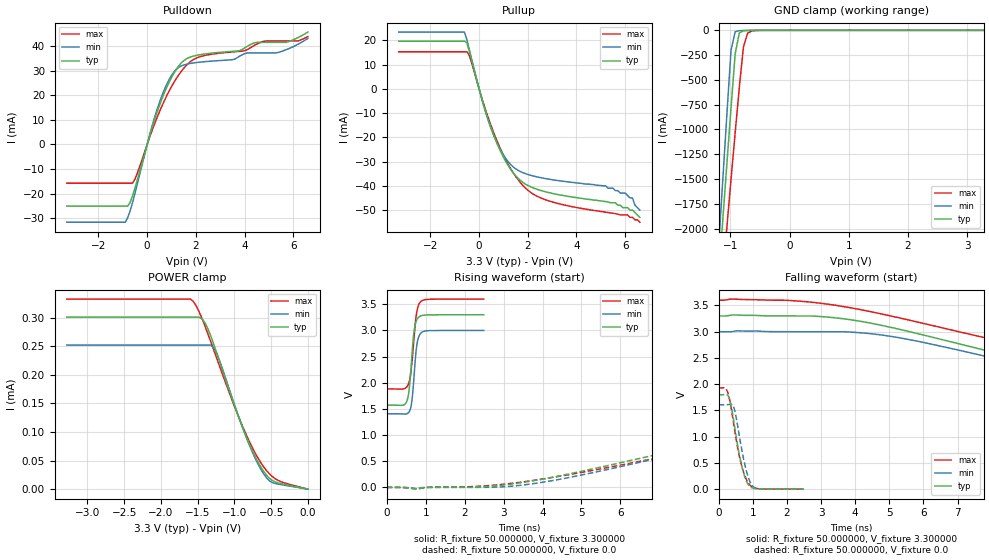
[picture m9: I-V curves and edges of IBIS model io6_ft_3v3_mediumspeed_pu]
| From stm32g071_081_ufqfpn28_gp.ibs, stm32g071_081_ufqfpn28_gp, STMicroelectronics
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|   Model io6_ft_3v3_mediumspeed_pu
[Model]  io6_ft_3v3_mediumspeed_pu
Model_type I/O
Polarity   Non-Inverting
Enable   Active-Low
Vinl =   0.990000V
Vinh =   2.310000V
Vmeas =  1.650000V
Cref =   40.000000pF
Rref =   100.000000M
Vref =   0.0V
C_comp   1.290400pF   1.272500pF   1.305600pF
[Temperature Range]   25.000000   -40.000000   0.125000k
[Pullup Reference]   3.300000V   3.000000V   3.600000V
[Pulldown Reference]   0.0V   0.0V   0.0V
[POWER Clamp Reference]   3.300000V   3.000000V   3.600000V
[GND Clamp Reference]   0.0V   0.0V   0.0V
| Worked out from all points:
|   slope of the pulldown table from 0 to 0.495 V, typ, clamps not added: 31.8 ohm
|   slope of the pullup table from 0 to 0.495 V, typ, clamps not added: 30.4 ohm
|   GND clamp passes 1 mA (typ) near -0.65 V on its own axis
|   rising waveform, R_fixture 50.000000, V_fixture 3.300000: 20-80 % time 114ps typ, 109ps min, 129ps max; typ from 1.57 V to 3.3 V
|   rising waveform, R_fixture 50.000000, V_fixture 0.0: 20-80 % time 8.24ns typ, 7.46ns min, 10.1ns max; typ from 0.002 V to 1.8 V
|   falling waveform, R_fixture 50.000000, V_fixture 3.300000: 20-80 % time 7.53ns typ, 7.46ns min, 8.06ns max; typ from 3.3 V to 1.57 V
|   falling waveform, R_fixture 50.000000, V_fixture 0.0: 20-80 % time 300ps typ, 289ps min, 332ps max; typ from 1.8 V to 0.002 V
[Pulldown]
|Voltage   I(typ)   I(min)   I(max)
-3.3V     -25.03mA   -31.54mA   -15.7mA
-900mV    -25.03mA   -31.54mA   -15.7mA
-700mV    -23.48mA   -26.95mA   -15.7mA
-500mV    -17.69mA   -19.75mA   -14.07mA
100mV     3.479mA    3.853mA    2.862mA
500mV     15.71mA    16.96mA    13.17mA
900mV     25.22mA    26.33mA    21.66mA
1.3V      31.91mA    31.32mA    28.29mA
2.2V      36.48mA    33.43mA    35.69mA
4.1V      39.76mA    37.15mA    38.42mA
5.3V      41.43mA    37.15mA    42.02mA
6.6V      45.6mA     43.04mA    43.74mA
[Pullup]
|Voltage   I(typ)   I(min)   I(max)
-3.3V     19.63mA    23.38mA    15.25mA
-600mV    19.63mA    23.38mA    15.25mA
-500mV    18.97mA    20.19mA    15.25mA
-400mV    15.37mA    16.06mA    13.73mA
100mV     -3.672mA   -3.825mA   -3.371mA
600mV     -19.12mA   -19.15mA   -18.08mA
1.2V      -31.74mA   -30.12mA   -31.25mA
1.8V      -38.62mA   -34.59mA   -39.86mA
2.9V      -42.88mA   -37.32mA   -46.32mA
5.2V      -46.5mA    -40mA      -50.9mA
6.3V      -50mA      -45mA      -53mA
6.6V      -53mA      -50mA      -55mA
[GND_clamp]
|Voltage   I(typ)   I(min)   I(max)
-3.3V     -9.61A     -9.635A    -9.699A
-1.2V     -2.493A    -2.184A    -2.958A
-1.13V    -1.917A    -1.512A    -2.469A
-1.06V    -1.345A    -845.6mA   -1.983A
-990mV    -779.8mA   -200.2mA   -1.503A
-920mV    -235.5mA   -14.18mA   -1.03A
-850mV    -26.06mA   -3.338mA   -574.2mA
-780mV    -4.499mA   -1.808mA   -166.4mA
-710mV    -1.722mA   -869.6uA   -29.45mA
-640mV    -806.7uA   -283.7uA   -6.281mA
3.28V     0A         0A         0A
[POWER_clamp]
|Voltage   I(typ)   I(min)   I(max)
-3.28V    300.8uA    252uA      332.4uA
-1.6V     300.8uA    252uA      332.4uA
-1.56V    300.8uA    252uA      328.4uA
-1.44V    297.9uA    252uA      298.3uA
-1.36V    280.4uA    252uA      271.4uA
-1.28V    252.9uA    246.9uA    243.1uA
-1.2V     222.5uA    224.3uA    214.5uA
-920mV    118.6uA    118.8uA    119.5uA
-680mV    47.6uA     44.33uA    54.63uA
-560mV    24.08uA    19.48uA    32.08uA
-480mV    14.89uA    11.29uA    21.67uA
0V        0A         0A         0A
[Ramp]
| variable   typ   min   max
dV/dt_r  1.07594/8.22573n   0.96372/7.45021n   1.14743/10.09054n
dV/dt_f  1.03164/7.51032n   0.95298/7.43871n   1.02438/8.04152n
R_load = 50.000000
[Rising Waveform]
R_fixture= 50.000000
V_fixture= 3.300000
V_fixture_min= 3.000000
V_fixture_max= 3.600000
|time   V(typ)   V(min)   V(max)
0s        1.573V     1.408V     1.883V
435.4ps   1.577V     1.404V     1.884V
510.5ps   1.637V     1.406V     1.916V
560.6ps   1.781V     1.431V     1.98V
635.6ps   2.39V      1.598V     2.299V
700.7ps   2.971V     2.107V     2.852V
760.8ps   3.184V     2.648V     3.297V
820.8ps   3.255V     2.876V     3.489V
1.026ns   3.296V     2.993V     3.592V
2.492ns   3.3V       3V         3.6V
[Rising Waveform]
R_fixture= 50.000000
V_fixture= 0.0
V_fixture_min= 0.0
V_fixture_max= 0.0
|time   V(typ)   V(min)   V(max)
0s        1.555mV    1.096mV    2.426mV
800.8ps   -17.28mV   -31.45mV   -26.85mV
2.402ns   11.72mV    2.718mV    25.26mV
3.604ns   108.6mV    56.67mV    117.9mV
10.33ns   1.126V     1.041V     1.03V
12.89ns   1.386V     1.28V      1.306V
15.62ns   1.565V     1.431V     1.526V
19.22ns   1.688V     1.532V     1.714V
23.62ns   1.753V     1.58V      1.828V
39.88ns   1.797V     1.608V     1.926V
[Falling Waveform]
R_fixture= 50.000000
V_fixture= 3.300000
V_fixture_min= 3.000000
V_fixture_max= 3.600000
|time   V(typ)   V(min)   V(max)
0s        3.3V       3V         3.6V
2.402ns   3.3V       3V         3.58V
3.363ns   3.268V     3V         3.51V
4.725ns   3.128V     2.942V     3.345V
11.29ns   2.141V     2.035V     2.428V
13.45ns   1.915V     1.794V     2.222V
15.86ns   1.773V     1.629V     2.089V
19.38ns   1.678V     1.519V     1.995V
23.7ns    1.624V     1.46V      1.94V
39.88ns   1.573V     1.408V     1.883V
[Falling Waveform]
R_fixture= 50.000000
V_fixture= 0.0
V_fixture_min= 0.0
V_fixture_max= 0.0
|time   V(typ)   V(min)   V(max)
0s        1.797V     1.608V     1.926V
255.3ps   1.797V     1.61V      1.864V
335.3ps   1.684V     1.619V     1.664V
435.4ps   1.333V     1.571V     1.272V
505.5ps   1.041V     1.395V     988.2mV
680.7ps   432.5mV    745mV      432.3mV
795.8ps   184.6mV    394.3mV    212mV
915.9ps   53.42mV    145mV      79.78mV
1.161ns   6.604mV    11.54mV    9.77mV
2.492ns   1.555mV    1.096mV    2.426mV
